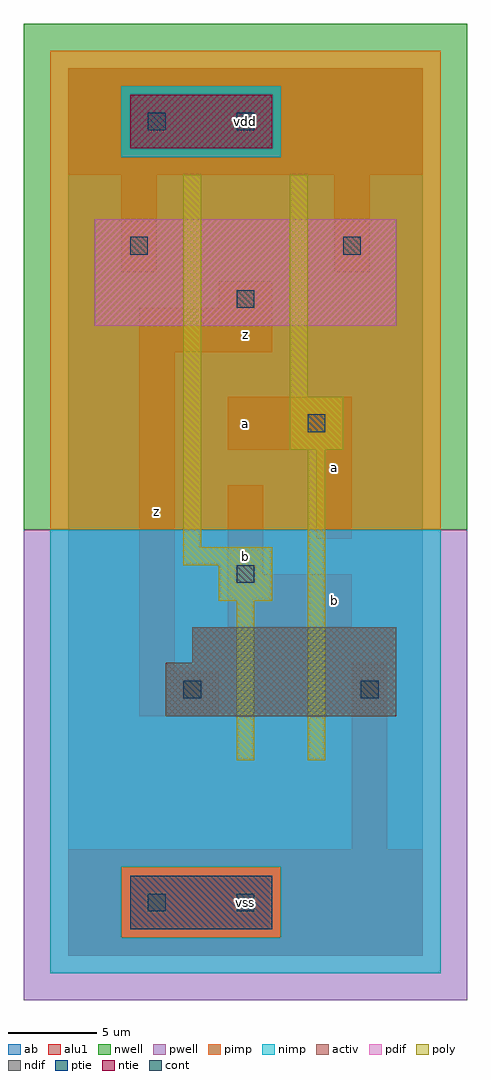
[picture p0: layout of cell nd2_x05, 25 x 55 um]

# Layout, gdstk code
import gdstk
lib = gdstk.Library(unit=1e-6, precision=1e-09)
def R(c, l, rs):  # rectangles x0, y0, x1, y1
    for r in rs: c.add(gdstk.rectangle(r[:2], r[2:], *l))
ndif = (3, 0)
pdif = (4, 0)
ntie = (5, 0)
ptie = (6, 0)
cont = (25, 0)
pwell = (41, 0)
nwell = (42, 0)
activ = (43, 0)
pimp = (44, 0)
nimp = (45, 0)
poly = (46, 0)
alu1 = (49, 0)
ab = (63, 0)

nd2_x05 = lib.new_cell('nd2_x05')
R(nd2_x05, ndif, [(5.5,13.5,18.5,16.5), (7,16.5,18.5,18.5)])
R(nd2_x05, pdif, [(1.5,35.5,18.5,41.5)])
R(nd2_x05, ntie, [(3.5,45.5,11.5,48.5)])
R(nd2_x05, ptie, [(3.5,1.5,11.5,4.5)])
R(nd2_x05, cont, [(4.5,2.5,5.5,3.5), (9.5,2.5,10.5,3.5), (6.5,14.5,7.5,15.5), (16.5,14.5,17.5,15.5), (9.5,21,10.5,22), (13.5,29.5,14.5,30.5), (9.5,36.5,10.5,37.5), (3.5,39.5,4.5,40.5), (15.5,39.5,16.5,40.5), (4.5,46.5,5.5,47.5), (9.5,46.5,10.5,47.5)])
R(nd2_x05, pwell, [(-2.5,-2.5,22.5,24)])
R(nd2_x05, nwell, [(-2.5,24,22.5,52.5)])
R(nd2_x05, activ, [(3.5,1.5,11.5,4.5), (5.5,13.5,18.5,16.5), (7,16.5,18.5,18.5), (1.5,35.5,18.5,41.5), (3.5,45.5,11.5,48.5)])
R(nd2_x05, pimp, [(3,1,12,5), (-1,24,21,45), (-1,45,3,49), (12,45,21,49), (-1,49,21,51)])
R(nd2_x05, nimp, [(-1,-1,21,1), (-1,1,3,5), (12,1,21,5), (-1,5,21,24), (3,45,12,49)])
R(nd2_x05, poly, [(9.5,11,10.5,20), (13.5,11,14.5,28.5), (8.5,20,11.5,22), (6.5,22,11.5,23), (6.5,23,7.5,44), (12.5,28.5,15.5,31.5), (12.5,31.5,13.5,44)])
R(nd2_x05, alu1, [(0,0,20,6), (0,0,20,6), (16,6,18,16.5), (16,6,18,16.5), (4,13.5,8.5,16), (4,13.5,8.5,16), (4,16,6,34), (4,16,6,34), (9,18.5,16,21.5), (9,18.5,16,21.5), (9,21.5,11,26.5), (9,21.5,11,26.5), (14,23.5,16,28.5), (14,23.5,16,28.5), (9,28.5,16,31.5), (9,28.5,16,31.5), (4,34,11.5,36.5), (4,34,11.5,36.5), (8.5,36.5,11.5,38), (8.5,36.5,11.5,38), (3,38.5,5,44), (3,38.5,5,44), (15,38.5,17,44), (15,38.5,17,44), (0,44,20,50), (0,44,20,50)])
R(nd2_x05, ab, [(0,0,20,50)])
nd2_x05.add(gdstk.Label('z', (5,25), layer=49, texttype=0))
nd2_x05.add(gdstk.Label('vss', (10,3), layer=49, texttype=0))
nd2_x05.add(gdstk.Label('b', (10,22.5), layer=49, texttype=0))
nd2_x05.add(gdstk.Label('a', (10,30), layer=49, texttype=0))
nd2_x05.add(gdstk.Label('z', (10,35), layer=49, texttype=0))
nd2_x05.add(gdstk.Label('vdd', (10,47), layer=49, texttype=0))
nd2_x05.add(gdstk.Label('b', (15,20), layer=49, texttype=0))
nd2_x05.add(gdstk.Label('a', (15,27.5), layer=49, texttype=0))

lib.write_gds('nd2_x05.gds')
